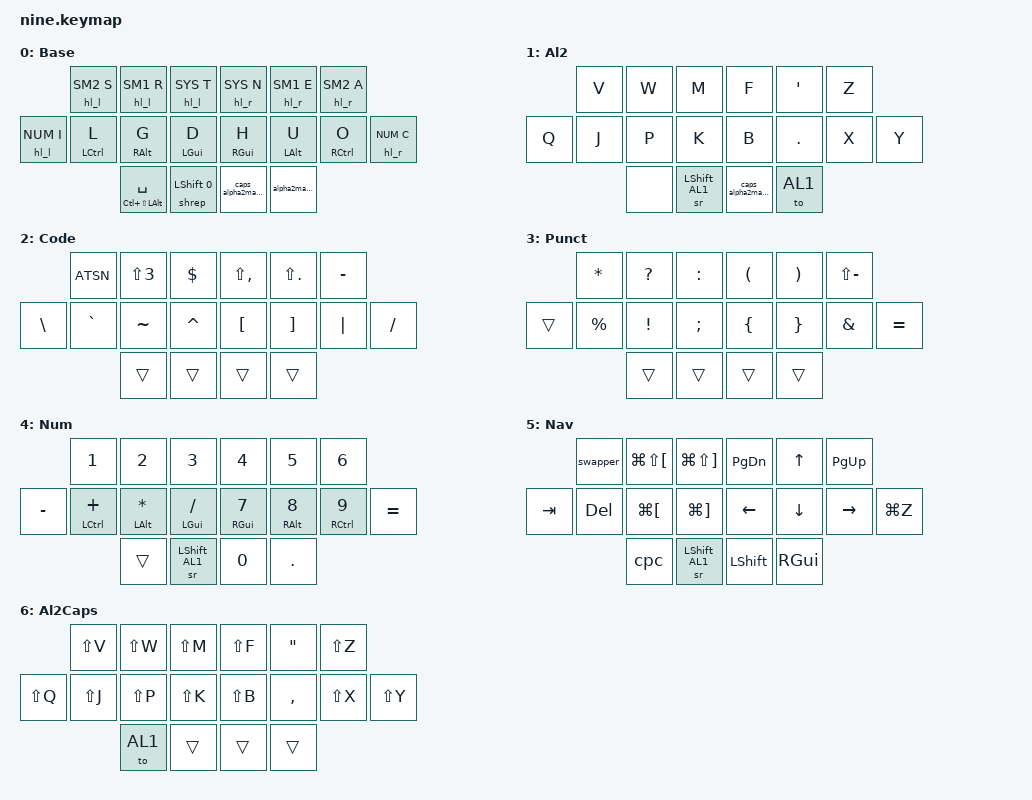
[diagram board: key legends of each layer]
/*
 * Copyright (c) 2020 The ZMK Contributors
 *
 * SPDX-License-Identifier: MIT
 */

#include <behaviors.dtsi>
#include <dt-bindings/zmk/keys.h>
#include <dt-bindings/zmk/bt.h>
#include "zmk-helpers/helper.h"

&mt {
    tapping-term-ms = <201>;
    flavor = "tap-preferred";
 };

&sk {
     release-after-ms = <2000>;
     quick-release;
 };
 
/* Layers */
#define AL1 0
#define AL2 1
#define SM1 2
#define SM2 3
#define NUM 4
#define SYS 5
#define AL2U 6

#include "combos.dtsi" // requires layer aliases
// #include "mouse.dtsi"

#define XXX &none
#define ___ &trans

/* Settings */

#define QUICK_TAP_MS 175

&sk {  // sticky-key config
    release-after-ms = <900>;  // release after 0.6s
    quick-release;             // no double capitalization when rolling keys
};

&sl {  // sticky-layer config
    ignore-modifiers;          // allow chording sticky mods & layers
};

&lt {  // layer-tap config
    flavor = "balanced";
    tapping-term-ms = <200>;
    quick-tap-ms = <QUICK_TAP_MS>;
};

/* Homerow mods */

#define KEYS_L 0 1 2 6 7 8 9       // left hand
#define KEYS_R 3 4 5 10 11 12 13   // right hand
#define THUMBS 14 15 16 17         // thumbs

#define MAKE_HRM(NAME, HOLD, TAP, TRIGGER_POS) \
    ZMK_BEHAVIOR(NAME, hold_tap, \
        flavor = "balanced"; \
        tapping-term-ms = <280>; \
        quick-tap-ms = <QUICK_TAP_MS>; \
        require-prior-idle-ms = <150>; \
        bindings = <HOLD>, <TAP>; \
        hold-trigger-key-positions = <TRIGGER_POS>; \
        hold-trigger-on-release; \
    )
MAKE_HRM(hm_l, &kp, &kp, KEYS_R THUMBS)  // left-hand HRMs
MAKE_HRM(hm_r, &kp, &kp, KEYS_L THUMBS)  // right-hand HRMs

/* Homerow layers */
#define MAKE_HRL(NAME, HOLD, TAP, TRIGGER_POS) \
    ZMK_BEHAVIOR(NAME, hold_tap, \
        flavor = "balanced"; \
        tapping-term-ms = <220>; \
        quick-tap-ms = <250>; \
        require-prior-idle-ms = <150>; \
        bindings = <HOLD>, <TAP>; \
        hold-trigger-key-positions = <TRIGGER_POS>; \
        hold-trigger-on-release; \
    )
MAKE_HRL(hl_l, &mo, &kp, KEYS_R THUMBS)  // left-hand HRLs
MAKE_HRL(hl_r, &mo, &kp, KEYS_L THUMBS)  // right-hand HRLs

// shift && repeat
ZMK_BEHAVIOR(shrep, hold_tap, \
    flavor = "hold-preferred"; \
    tapping-term-ms = <400>; \
    quick-tap-ms = <200>; \
    require-prior-idle-ms = <150>; \
    bindings = <&kp>, <&key_repeat>; \
)
// alpha 2 layer & alpha 2 upper macro
ZMK_MACRO(alpha2macro, bindings = <&sl AL2>;)
ZMK_MACRO(caps_alpha2macro, bindings = <&sl AL2U>;)

#define MAKE_SL(NAME, HOLD, TAP) \
    ZMK_BEHAVIOR(NAME, hold_tap, \
        flavor = "tap-preferred"; \
        tapping-term-ms = <280>; \
        quick-tap-ms = <0>; \
        bindings = <HOLD>, <TAP>; \
        retro-tap;\
    )
MAKE_SL(sr, &kp, &to)

// tap: copy | hold: paste | double-tap: cut
ZMK_TAP_DANCE(cpc,
    tapping-term-ms = <200>;
    bindings = <&mt LG(V) LG(C)>, <&kp LG(X)>;
)

ZMK_BEHAVIOR(swapper, tri_state,
    bindings = <&kt LGUI>, <&kp TAB>, <&kt LGUI>;
    ignored-key-positions = <14 16>;
)


/*                KEY POSITIONS

  ╭─────────────╮      	        ╭─────────────╮
  │    0  1  2  │               │ 3  4  5     │
  │ 6  7  8  9  ╰────╮    ╭─────╯ 10 11 12 13 │
  ╰─────────╮  14 15 │    │ 16 17  ╭──────────╯
            ╰────────╯    ╰────────╯ */
/ {
    keymap {
                compatible = "zmk,keymap";
                
        alpha1 {
            label = "Base";

            bindings = <
                              &hl_l SM2 S    &hl_l SM1 R   &hl_l SYS T      &hl_r SYS N    &hl_r SM1 E  &hl_r SM2 A
                &hl_l NUM I   &hm_l LCTL L   &hm_l RALT G  &hm_l LGUI D     &hm_l RGUI H    &hm_l LALT U  &hm_l RCTRL O    &hl_r NUM C
                                            &mt LC(LS(LALT)) SPC &shrep LSHIFT 0 &caps_alpha2macro &alpha2macro
            >;
        };
        alpha2 {
            label = "Al2";
            bindings = <
                            &kp V       &kp W               &kp M           &kp F       &kp SQT                &kp Z
                &kp Q       &kp J       &kp P               &kp K           &kp B       &kp DOT              &kp X     &kp Y
                                            &none &sr LSHIFT AL1            &caps_alpha2macro &to AL1
            >;
        };
        sym1 {
            label = "Code";
            bindings = <
                           &kp ATSN     &kp LS(N3)  &kp DLLR                       &kp LS(COMMA)   &kp LS(DOT)     &kp MINUS
                &kp BSLH   &kp GRAVE    &kp TILDE   &kp CARET                      &kp LBKT        &kp RBKT        &kp PIPE    &kp SLASH
                                &trans      &trans                         &trans          &trans
        >;
        };
        sym2 {
            label = "Punct";
            bindings = <
                           &kp STAR    &kp QMARK        &kp COLON                 &kp LPRN    &kp RPRN    &kp LS(MINUS)
                &trans     &kp PRCNT   &kp EXCL         &kp SEMI                  &kp LBRC    &kp RBRC    &kp AMPS    &kp EQUAL
                                &trans           &trans                    &trans      &trans

        >;
        };
        num {
            label = "Num";

            bindings = <
                                &kp N1          &kp N2         &kp N3           &kp N4         &kp N5          &kp N6
                &kp MINUS &hm_l LCTL PLUS &hm_l LALT STAR  &hm_l LGUI SLASH     &hm_l RGUI N7 &hm_l RALT N8   &hm_l RCTRL N9    &kp EQUAL
                                                &trans &sr LSHIFT AL1           &kp N0         &kp DOT
            >;
        };
        sys {
        label = "Nav";
        bindings = <
                                &swapper       &kp LG(LS(LBKT)) &kp LG(LS(RBKT)) &kp PG_DN       &kp UP      &kp PG_UP
                 &kp TAB        &kp DEL        &kp LG(LBKT)     &kp LG(RBKT)     &kp LEFT      &kp DOWN      &kp RIGHT   &kp LG(Z)
                                               &cpc &sr LSHIFT AL1               &kp LSHIFT     &kp RGUI
            >;
        };
        alpha2cap {
            label = "Al2Caps";
            bindings = <
                            &kp LS(V)   &kp LS(W)   &kp LS(M)           &kp LS(F)   &kp DQT    &kp LS(Z)
                &kp LS(Q)   &kp LS(J)   &kp LS(P)   &kp LS(K)           &kp LS(B)   &kp COMMA  &kp LS(X)   &kp LS(Y)
                                &to AL1     &trans              &trans      &trans
            >;
        };
    };
};
